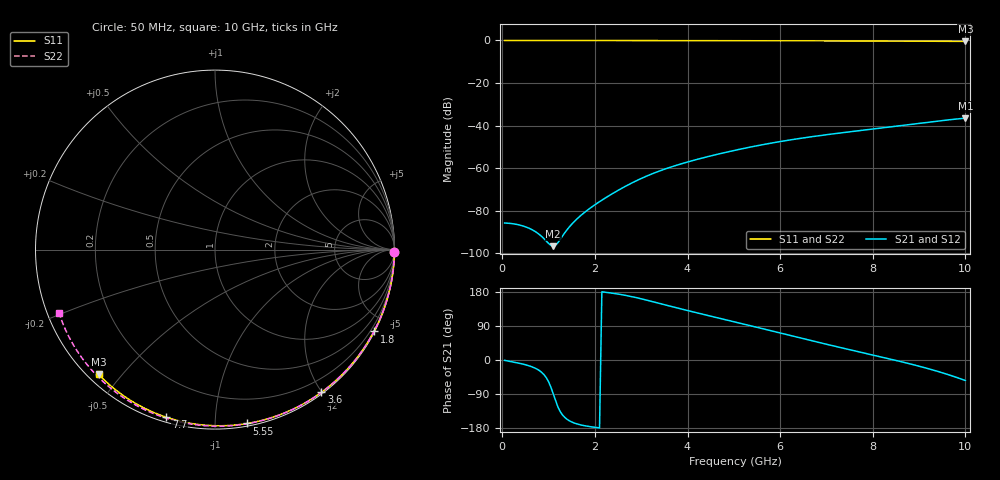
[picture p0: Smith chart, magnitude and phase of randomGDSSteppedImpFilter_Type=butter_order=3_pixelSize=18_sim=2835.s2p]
! freq	dB(S11)	phase(S11)	dB(S12)	phase(S12)
!  dB(S21)	phase(S21)	dB(S22)	phase(S22)
!S-par simulation data
#  GHz  S  DB  R 50
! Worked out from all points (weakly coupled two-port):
!   200 points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, 50 MHz to 10 GHz, reference 50 ohm
!   highest |S21| = -36.52 dB at 10 GHz (marker M1); lowest = -96.6 dB at 1.1 GHz (marker M2)
!   lowest |S11| = -0.4 dB at 10 GHz (marker M3), VSWR 39.50, Z = 1.51 - j21.7 ohm
!   |S11| at or under -10 dB: nowhere
!   |S22| runs from -0.6 to 0.0 dB; largest |S21 - S12| = 0
!   S11 on the Smith chart (normalised r, x): 50 MHz: open; 1.8 GHz: 0.04, -4.13; 3.6 GHz: 0.02, -1.99; 5.55 GHz: 0.02, -1.20; 7.7 GHz: 0.02, -0.75; 10 GHz: 0.03, -0.43
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0.05  -0.00 -0.8  -85.75 -0.9  -85.75 -0.9  -0.00 -0.9
0.55  -0.01 -8.4  -87.94 -14.3  -87.94 -14.3  -0.01 -10.1
1.1  -0.02 -16.8  -96.62 -89.3  -96.62 -89.3  -0.02 -20.0
1.75  -0.03 -26.5  -81.21 -172.8  -81.21 -172.8  -0.04 -31.6
1.8  -0.03 -27.2  -80.34 -174.0  -80.34 -174.0  -0.04 -32.5
1.85  -0.04 -28.0  -79.51 -175.0  -79.51 -175.0  -0.04 -33.3
2.05  -0.04 -30.9  -76.43 -178.5  -76.43 -178.5  -0.05 -36.9
2.25  -0.04 -33.9  -73.64 178.4  -73.64 178.4  -0.05 -40.3
2.65  -0.05 -39.7  -68.61 170.8  -68.61 170.8  -0.06 -47.2
3  -0.06 -44.8  -64.83 161.5  -64.83 161.5  -0.07 -53.2
3.4  -0.07 -50.4  -61.27 149.1  -61.27 149.1  -0.08 -59.9
3.6  -0.07 -53.3  -59.75 142.8  -59.75 142.8  -0.08 -63.2
4.25  -0.09 -62.3  -55.61 123.1  -55.61 123.1  -0.10 -73.8
5.05  -0.11 -73.0  -51.46 99.6  -51.46 99.6  -0.13 -86.3
5.55  -0.13 -79.5  -49.25 84.8  -49.25 84.8  -0.15 -94.0
6.1  -0.15 -86.6  -47.13 68.3  -47.13 68.3  -0.18 -102.2
6.7  -0.18 -94.1  -45.15 50.3  -45.15 50.3  -0.22 -111.0
7.2  -0.21 -100.2  -43.72 35.8  -43.72 35.8  -0.25 -118.3
7.7  -0.24 -106.2  -42.39 21.6  -42.39 21.6  -0.29 -125.4
8.35  -0.29 -113.9  -40.70 3.2  -40.70 3.2  -0.35 -134.7
9.2  -0.36 -123.8  -38.42 -23.0  -38.42 -23.0  -0.44 -146.7
10  -0.44 -133.0  -36.52 -54.1  -36.52 -54.1  -0.56 -157.9
